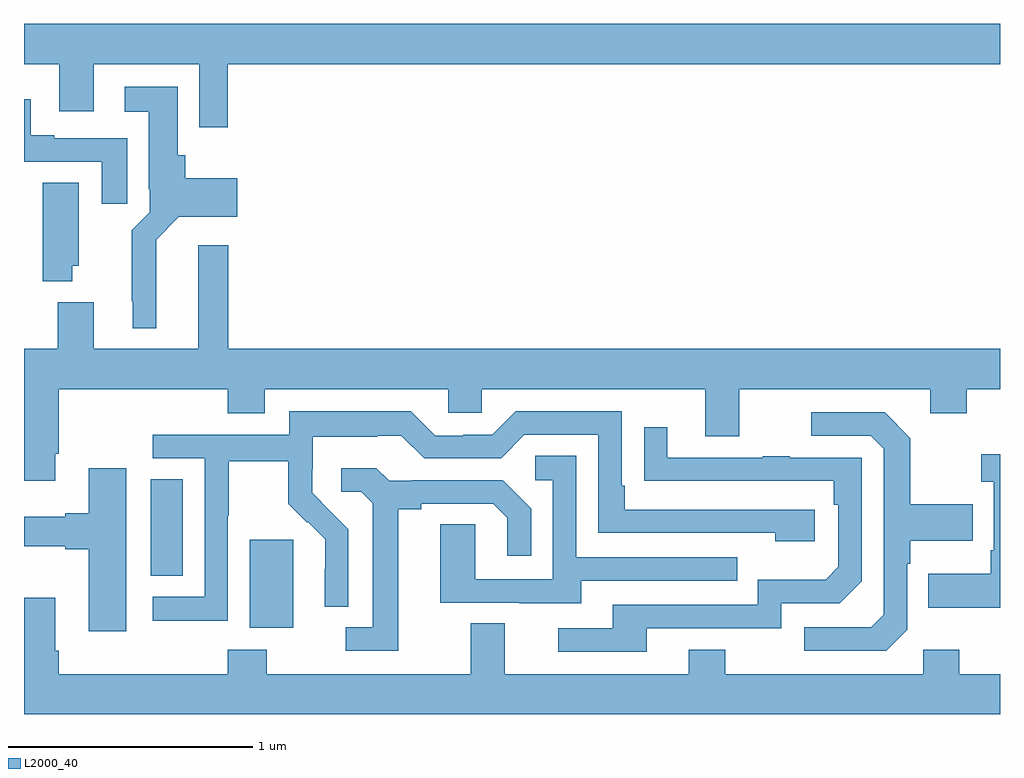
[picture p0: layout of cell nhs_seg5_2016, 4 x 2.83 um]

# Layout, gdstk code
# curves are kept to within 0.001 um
import gdstk
lib = gdstk.Library(unit=1e-6, precision=1e-09)
def R(c, l, rs):  # rectangles x0, y0, x1, y1
    for r in rs: c.add(gdstk.rectangle(r[:2], r[2:], *l))
def P(c, l, *ps):  # polygons
    for p in ps: c.add(gdstk.Polygon(p, *l))
L2000_40 = (2000, 40)

nhs_seg5_2016 = lib.new_cell('nhs_seg5_2016')
R(nhs_seg5_2016, L2000_40, [(229.925,883.754,230.104,884.115), (229.52,883.966,229.651,884.363)])
P(nhs_seg5_2016, L2000_40, [(229.835,886.064),(233,886.064),(233,886.228),(229,886.228),(229,886.064),(229.145,886.064),(229.145,885.87),(229.285,885.87),(229.285,886.064),(229.719,886.064),(229.719,885.804),(229.835,885.804)],
  [(229.543,885.344),(229.635,885.437),(229.873,885.437),(229.873,885.595),(229.661,885.595),(229.661,885.69),(229.63,885.69),(229.63,885.97),(229.413,885.97),(229.413,885.869),(229.511,885.869),(229.511,885.55),(229.515,885.55),(229.515,885.456),(229.441,885.382),(229.441,885.091),(229.445,885.091),(229.445,884.981),(229.543,884.981)],
  [(229.423,885.759),(229.123,885.759),(229.123,885.772),(229.027,885.772),(229.027,885.919),(229,885.919),(229,885.663),(229.319,885.663),(229.319,885.492),(229.423,885.492)],
  [(229.198,885.237),(229.225,885.237),(229.225,885.578),(229.076,885.578),(229.076,885.173),(229.198,885.173)],
  [(229.129,884.467),(229.142,884.467),(229.142,884.732),(229.835,884.732),(229.835,884.633),(229.987,884.633),(229.987,884.732),(230.739,884.732),(230.739,884.634),(230.877,884.634),(230.877,884.732),(231.791,884.732),(231.791,884.538),(231.931,884.538),(231.931,884.732),(232.715,884.732),(232.715,884.633),(232.863,884.633),(232.863,884.732),(233,884.732),(233,884.896),(229.838,884.896),(229.838,885.322),(229.715,885.322),(229.715,884.896),(229.285,884.896),(229.285,885.088),(229.138,885.088),(229.138,884.896),(229,884.896),(229,884.355),(229.129,884.355)],
  [(229.836,884.212),(229.839,884.212),(229.839,884.436),(230.083,884.436),(230.083,884.261),(230.16,884.184),(230.163,884.187),(230.234,884.117),(230.234,883.994),(230.232,883.994),(230.232,883.84),(230.328,883.84),(230.328,884.158),(230.182,884.306),(230.182,884.403),(230.184,884.403),(230.184,884.537),(230.447,884.537),(230.447,884.541),(230.547,884.541),(230.64,884.448),(230.955,884.448),(231.051,884.544),(231.354,884.544),(231.354,884.142),(232.079,884.142),(232.079,884.108),(232.24,884.108),(232.24,884.238),(231.463,884.238),(231.463,884.335),(231.45,884.335),(231.45,884.64),(231.015,884.64),(230.919,884.544),(230.801,884.544),(230.801,884.541),(230.685,884.541),(230.585,884.641),(230.088,884.641),(230.088,884.544),(229.527,884.544),(229.527,884.448),(229.74,884.448),(229.74,883.881),(229.527,883.881),(229.527,883.783),(229.836,883.783)],
  [(232.62,883.746),(232.62,884.015),(232.633,884.015),(232.633,884.111),(232.889,884.111),(232.889,884.259),(232.633,884.259),(232.633,884.531),(232.527,884.637),(232.227,884.637),(232.227,884.541),(232.47,884.541),(232.524,884.487),(232.524,883.806),(232.473,883.755),(232.197,883.755),(232.197,883.659),(232.533,883.659)],
  [(231.553,883.752),(232.104,883.752),(232.104,883.854),(232.344,883.854),(232.434,883.944),(232.434,884.451),(232.139,884.451),(232.139,884.456),(232.027,884.456),(232.027,884.451),(231.637,884.451),(231.637,884.575),(231.541,884.575),(231.541,884.356),(232.318,884.355),(232.318,884.258),(232.338,884.258),(232.338,884.004),(232.285,883.951),(232.008,883.951),(232.008,883.848),(231.413,883.848),(231.413,883.752),(231.189,883.752),(231.189,883.656),(231.553,883.656)],
  [(233,884.464),(232.923,884.464),(232.923,884.351),(232.974,884.351),(232.974,884.071),(232.962,884.071),(232.962,883.975),(232.705,883.975),(232.705,883.835),(233,883.835)],
  [(231.283,883.947),(231.923,883.947),(231.923,884.043),(231.264,884.043),(231.264,884.459),(231.096,884.459),(231.096,884.358),(231.168,884.358),(231.168,883.953),(230.85,883.953),(230.85,884.177),(230.705,884.177),(230.705,883.857),(231.029,883.857),(231.029,883.853),(231.283,883.853)],
  [(230.533,884.24),(230.629,884.24),(230.629,884.262),(230.924,884.262),(230.981,884.205),(230.981,884.049),(231.078,884.049),(231.078,884.242),(230.962,884.358),(230.59,884.358),(230.59,884.355),(230.496,884.355),(230.444,884.407),(230.301,884.407),(230.301,884.31),(230.382,884.31),(230.429,884.263),(230.429,883.755),(230.319,883.755),(230.319,883.659),(230.533,883.659)],
  [(229.42,884.407),(229.265,884.407),(229.265,884.222),(229.169,884.222),(229.169,884.209),(229,884.209),(229,884.087),(229.169,884.087),(229.169,884.075),(229.265,884.075),(229.265,883.74),(229.42,883.74)],
  [(233,883.564),(232.833,883.564),(232.833,883.663),(232.686,883.663),(232.686,883.564),(231.873,883.564),(231.873,883.663),(231.725,883.663),(231.725,883.564),(230.971,883.564),(230.971,883.772),(230.831,883.772),(230.831,883.564),(229.995,883.564),(229.995,883.663),(229.835,883.663),(229.835,883.564),(229.142,883.564),(229.142,883.66),(229.129,883.66),(229.129,883.876),(229,883.876),(229,883.4),(233,883.4)])

lib.write_gds('nhs_seg5_2016.gds')
